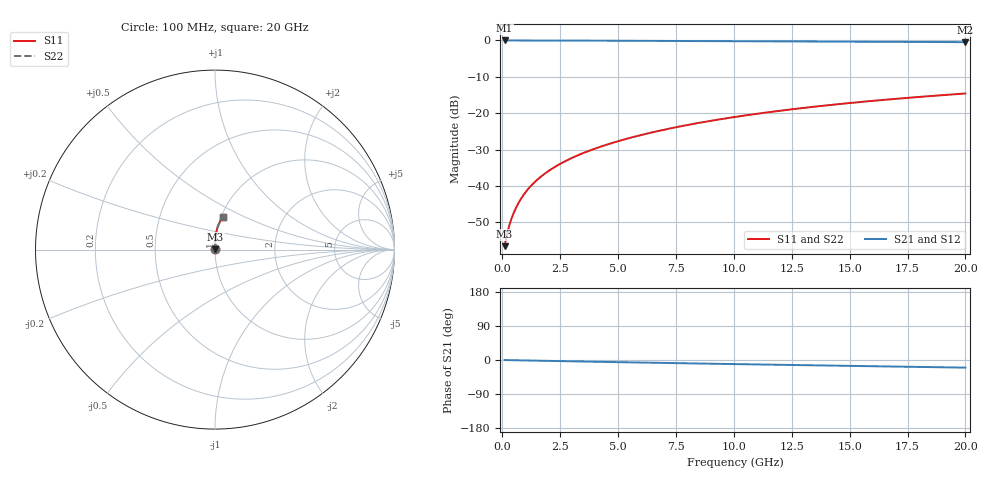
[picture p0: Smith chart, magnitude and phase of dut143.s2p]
! Touchstone file exported from HFSS 2024.1.0
!  File:  C:/UserFiles/LocalFiles/RDL_TSV_Batchsim/temp_RDL_top_143_1778684844.aedt
!  Generated:  11:09:21 PM May 13, 2026
!  Design:  RDL_top
!  Project:  temp_RDL_top_143_1778684844
!  Setup:  Setup1
!  Solution:  Sweep
! Variables:
!  dtsv = 10.80580581um
!  hbump = 3um
!  htsv = 82.24um
!  ldown = 100um
!  lrdl = 291.22um
!  p = 40
!  p1 = 42.71um
!  rhole = 1um
!  t = 450um
!  tdown = 3.915915916um
!  trdl = 4.65um
!  wdown = 15.38538539um
!  wrdl = 21.91um
# GHz S MA R 50.000000
! Terminal data exported
! Port[1] = Box2_T1
! Port[2] = Box2_T2
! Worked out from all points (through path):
!   200 points, 100 MHz to 20 GHz, reference 50 ohm
!   highest |S21| = -0.01 dB at 100 MHz (marker M1); lowest = -0.5 dB at 20 GHz (marker M2)
!   group delay of S21, straight-line fit = 2.76 ps
!   lowest |S11| = -56.5 dB at 100 MHz (marker M3), VSWR 1.00, Z = 50.1 + j0.0904 ohm
!   |S11| at or under -10 dB: start of sweep to end of sweep
!   |S22| runs from -56.5 to -14.6 dB; largest |S21 - S12| = 4e-15
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0.1  0.001488 37.3  0.9988 -0.1  0.9988 -0.1  0.001488 37.3
! Gamma 0 0 0 0
! Port Impedance 50 0 50 0
0.2  0.002144 54.0  0.9987 -0.2  0.9987 -0.2  0.002144 54.0
0.3  0.002848 62.5  0.9986 -0.4  0.9986 -0.4  0.002848 62.5
0.4  0.003572 67.8  0.9985 -0.5  0.9985 -0.5  0.003572 67.8
0.5  0.004312 71.6  0.9985 -0.6  0.9985 -0.6  0.004313 71.6
0.6  0.005066 74.3  0.9984 -0.7  0.9984 -0.7  0.005066 74.3
0.8  0.006599 77.9  0.9983 -0.9  0.9983 -0.9  0.006599 77.9
1.1  0.008939 81.2  0.998 -1.3  0.998 -1.3  0.008939 81.2
1.5  0.0121 83.6  0.9976 -1.8  0.9976 -1.8  0.0121 83.6
1.8  0.01449 84.8  0.9972 -2.1  0.9972 -2.1  0.01449 84.8
2.1  0.0169 85.6  0.9968 -2.5  0.9968 -2.5  0.0169 85.6
2.7  0.02176 86.8  0.9957 -3.1  0.9957 -3.1  0.02176 86.8
3.5  0.02836 87.8  0.994 -4.0  0.994 -4.0  0.02837 87.8
4.2  0.03428 88.3  0.9923 -4.8  0.9923 -4.8  0.03428 88.3
5  0.04122 88.7  0.9902 -5.7  0.9902 -5.7  0.04122 88.7
6.8  0.05751 88.7  0.985 -7.6  0.985 -7.6  0.05752 88.7
8.4  0.07268 88.0  0.9802 -9.2  0.9802 -9.2  0.07269 88.0
10.1  0.08927 86.8  0.9751 -10.9  0.9751 -10.9  0.08928 86.8
11.7  0.1051 85.4  0.9704 -12.4  0.9704 -12.4  0.1051 85.4
13.4  0.1221 83.8  0.9655 -14.0  0.9655 -14.0  0.1221 83.8
16.7  0.1547 80.3  0.9561 -17.1  0.9561 -17.1  0.1547 80.3
20  0.1864 76.8  0.9469 -20.1  0.9469 -20.1  0.1865 76.8
